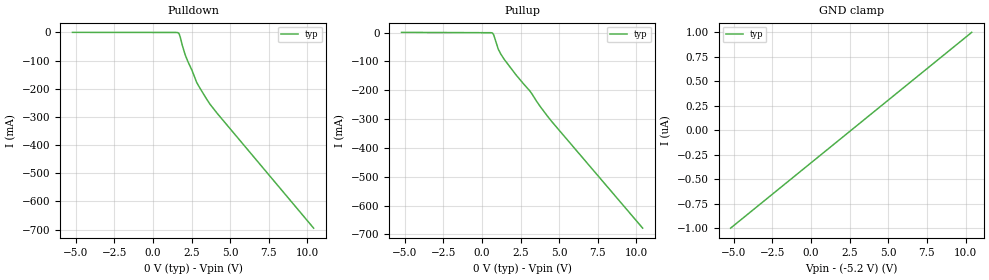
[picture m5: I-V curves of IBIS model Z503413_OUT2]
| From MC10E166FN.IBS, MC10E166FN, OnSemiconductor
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| (C) COPYRIGHT 1993-2000
| MENTOR GRAPHICS CORPORATION
| ICX STANDARD LIBRARY, ICX PROJECT MODELING,
| ICX CUSTOM MODELING, ICX VENDOR MODEL
| ALL RIGHTS RESERVED.
| THE FOLLOWING ARE TRADEMARKS OR SERVICE MARKS OF
| MENTOR GRAPHICS CORPORATION:ICX (R), ICX STANDARD
| LIBRARY(R), ICX PROJECT MODELING(R), ICX CUSTOM
| MODELING(R), qualityIBIS(TM), MODELVIEWER(TM),
| AND MODELEDITOR(TM)
| ALL COPIES OF SOFTWARE, INCLUDING BUT NOT LIMITED TO
| ANY MODIFICATIONS, ENHANCEMENTS OR DERIVATIVE WORKS,
| MUST CONTAIN ALL MENTOR GRAPHICS CORPORATION'S
| NOTICES AND LEGENDS, INCLUDING THOSE EMBEDDED IN
| SOFTWARE AND THOSE AFFIXED TO SOFTWARE MEDIUM
| AND CONTAINER, AS RECEIVED FROM MENTOR GRAPHICS
| CORPORATION.
| Model Application Version 1.89 2/18/99.
[Model] Z503413_OUT2
Model_type Output_ECL
Vref=-2.000V
Rref=50.00ohms
Cref=0.000F
Vmeas=-1.305V
C_comp 8.000pF NA NA
| variable typ   min   max
[Voltage Range] -5.200V NA NA
[POWER Clamp Reference] 0.000V NA NA
[Pullup Reference] 0.000V NA NA
[Pulldown Reference] 0.000V NA NA
[GND Clamp Reference] -5.200V NA NA
[GND Clamp]
-5.2V     -1uA       NA         NA
10.4V     1uA        NA         NA
[Pulldown]
-5.2V     368.1uA    NA         NA
1.504V    55.16uA    NA         NA
1.661V    -2.19mA    NA         NA
1.768V    -15.76mA   NA         NA
1.909V    -46.63mA   NA         NA
2.093V    -79.67mA   NA         NA
2.519V    -132.9mA   NA         NA
2.827V    -176.4mA   NA         NA
3.682V    -253.7mA   NA         NA
10.4V     -694.7mA   NA         NA
[Pullup]
-5.2V     1.053mA    NA         NA
683.6mV   -1.368mA   NA         NA
761.7mV   -7.447mA   NA         NA
1.06V     -57.52mA   NA         NA
1.443V    -92.58mA   NA         NA
2.202V    -146.2mA   NA         NA
3.102V    -202.3mA   NA         NA
3.574V    -241mA     NA         NA
4.224V    -288.5mA   NA         NA
10.4V     -678.4mA   NA         NA
[POWER Clamp]
-5.2V     0A         NA         NA
10.4V     0A         NA         NA
[Ramp]
| variable typ min max
dV/dt_r 549.5m/230.4p NA NA
dV/dt_f 549.5m/288.9p NA NA
R_load = 500.0Ohms
